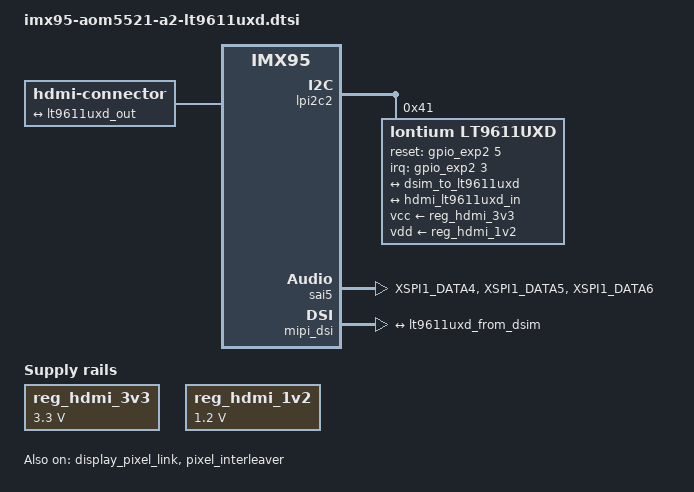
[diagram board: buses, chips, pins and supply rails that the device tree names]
/ {
	reg_hdmi_3v3: regulator-hdmi-3v3 {
		compatible = "regulator-fixed";
		regulator-name = "+V3.3_HDMI";
		regulator-min-microvolt = <3300000>;
		regulator-max-microvolt = <3300000>;
		regulator-always-on;
	};

	reg_hdmi_1v2: regulator-hdmi-1v2 {
		compatible = "regulator-fixed";
		regulator-name = "+V1.2_HDMI";
		regulator-min-microvolt = <1200000>;
		regulator-max-microvolt = <1200000>;
		regulator-always-on;
	};

	sound_hdmi: sound-hdmi {
		compatible = "simple-audio-card";
		simple-audio-card,name = "sound-hdmi";
		simple-audio-card,format = "i2s";

		simple-audio-card,cpu {
			sound-dai = <&sai5>;
			dai-tdm-slot-num = <2>;
			dai-tdm-slot-width = <32>;
		};

		simple-audio-card,codec {
			sound-dai = <&lt9611uxd>;
		};
	};

	hdmi-connector-dsi {
		compatible = "hdmi-connector";
		label = "hdmi";
		type = "a";

		port {
			hdmi_lt9611uxd_in: endpoint {
				remote-endpoint = <&lt9611uxd_out>;
			};
		};
	};
};

&lpi2c2 {
	lt9611uxd: hdmi-bridge@41 {
		compatible = "lontium,lt9611uxd";
		reg = <0x41>;
		#sound-dai-cells = <0>;
		reset-gpios = <&gpio_exp2 5 GPIO_ACTIVE_HIGH>; /* DSI_RST */
		interrupts-extended = <&gpio_exp2 3 IRQ_TYPE_EDGE_FALLING>; /* DSI_HDMI_INT */
		vcc-supply = <&reg_hdmi_3v3>;
		vdd-supply = <&reg_hdmi_1v2>;

		ports {
			#address-cells = <1>;
			#size-cells = <0>;

			port@0 {
				reg = <0>;
				lt9611uxd_from_dsim: endpoint {
					remote-endpoint = <&dsim_to_lt9611uxd>;
				};
			};

			port@2 {
				reg = <2>;
				lt9611uxd_out: endpoint {
					remote-endpoint = <&hdmi_lt9611uxd_in>;
				};
			};
		};
	};
};

&sai5 {
	#sound-dai-cells = <0>;
	pinctrl-names = "default";
	pinctrl-0 = <&pinctrl_sai5>;
	assigned-clocks = <&scmi_clk IMX95_CLK_AUDIOPLL1_VCO>,
			  <&scmi_clk IMX95_CLK_AUDIOPLL2_VCO>,
			  <&scmi_clk IMX95_CLK_AUDIOPLL1>,
			  <&scmi_clk IMX95_CLK_AUDIOPLL2>,
			  <&scmi_clk IMX95_CLK_SAI5>;
	assigned-clock-parents = <0>, <0>, <0>, <0>,
				 <&scmi_clk IMX95_CLK_AUDIOPLL1>;
	assigned-clock-rates = <3932160000>,
			       <3612672000>, <393216000>,
			       <361267200>, <12288000>;
	fsl,sai-mclk-direction-output;
	status = "okay";
};

&display_pixel_link {
	status = "okay";
};

&dpu {
	assigned-clocks = <&scmi_clk IMX95_CLK_DISP1PIX>,
			  <&scmi_clk IMX95_CLK_VIDEOPLL1_VCO>,
			  <&scmi_clk IMX95_CLK_VIDEOPLL1>;
	assigned-clock-parents = <&scmi_clk IMX95_CLK_VIDEOPLL1>;
	assigned-clock-rates = <0>, <2673000000>, <297000000>;
};

&mipi_dsi {
	status = "okay";

	ports {
		#address-cells = <1>;
		#size-cells = <0>;

		port@1 {
			reg = <1>;

			dsim_to_lt9611uxd: endpoint {
				remote-endpoint = <&lt9611uxd_from_dsim>;
			};
		};
	};
};

&pixel_interleaver {
	#address-cells = <1>;
	#size-cells = <0>;
	status = "okay";

	channel@0 {
		reg = <0>;
		status = "okay";
	};
};

&scmi_iomuxc {

	pinctrl_sai5: sai5grp {
		fsl,pins = <
			IMX95_PAD_XSPI1_DATA4__SAI5_TX_DATA_BIT0	0x31e
			IMX95_PAD_XSPI1_DATA5__SAI5_TX_SYNC		0x31e
			IMX95_PAD_XSPI1_DATA6__SAI5_TX_BCLK		0x31e
		>;
	};
};
